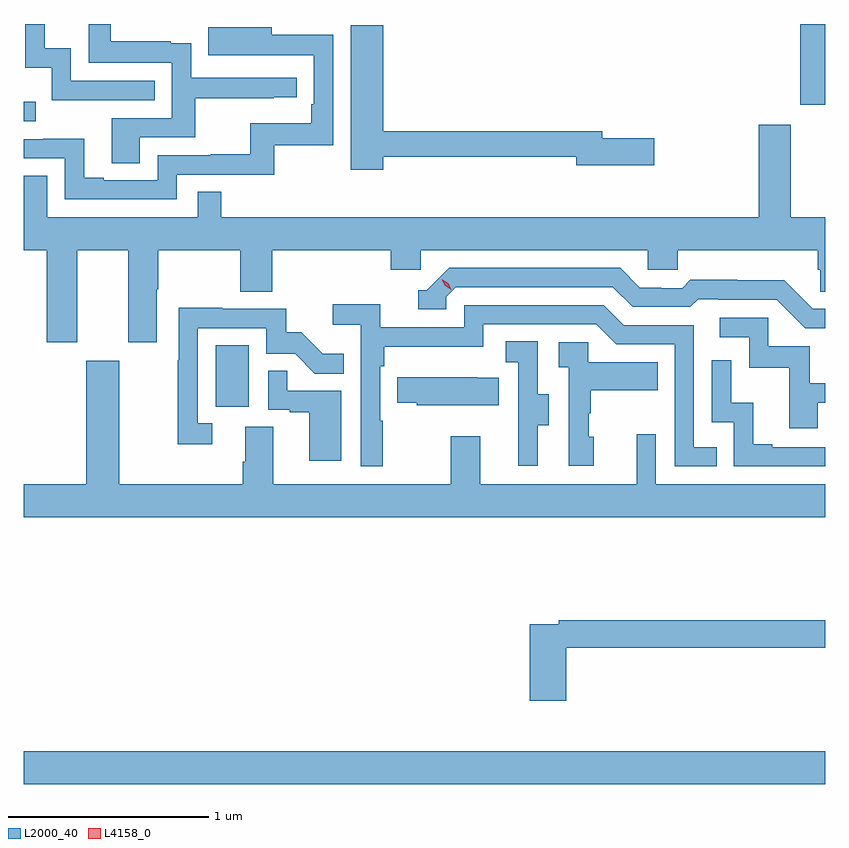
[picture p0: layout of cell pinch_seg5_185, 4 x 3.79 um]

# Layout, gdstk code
import gdstk
lib = gdstk.Library(unit=1e-6, precision=1e-09)
def R(c, l, rs):  # rectangles x0, y0, x1, y1
    for r in rs: c.add(gdstk.rectangle(r[:2], r[2:], *l))
def P(c, l, *ps):  # polygons
    for p in ps: c.add(gdstk.Polygon(p, *l))
L2000_40 = (2000, 40)
L4158_0 = (4158, 0)

pinch_seg5_185 = lib.new_cell('pinch_seg5_185')
R(pinch_seg5_185, L2000_40, [(1119.406,884.732,1123.406,884.896), (1120.364,886.614,1120.528,886.921), (1119.406,888.039,1119.466,888.136), (1123.28,888.122,1123.406,888.524)])
P(pinch_seg5_185, L2000_40, [(1119.985,887.958),(1120.262,887.958),(1120.262,888.154),(1120.655,888.154),(1120.655,888.159),(1120.768,888.159),(1120.768,888.255),(1120.242,888.255),(1120.242,888.427),(1120.139,888.427),(1120.139,888.439),(1119.841,888.439),(1119.841,888.524),(1119.73,888.524),(1119.73,888.33),(1120.146,888.33),(1120.146,888.054),(1119.845,888.054),(1119.845,887.83),(1119.985,887.83)],
  [(1120.061,888.24),(1119.642,888.24),(1119.642,888.403),(1119.51,888.403),(1119.51,888.524),(1119.413,888.524),(1119.413,888.305),(1119.546,888.305),(1119.546,888.144),(1120.061,888.144)],
  [(1121.2,887.862),(1122.164,887.862),(1122.164,887.819),(1122.553,887.819),(1122.553,887.954),(1122.292,887.954),(1122.292,887.99),(1121.2,887.99),(1121.2,888.517),(1121.039,888.517),(1121.039,887.796),(1121.2,887.796)],
  [(1120.17,887.772),(1120.657,887.772),(1120.657,887.919),(1120.95,887.919),(1120.95,888.47),(1120.645,888.47),(1120.645,888.508),(1120.327,888.508),(1120.327,888.368),(1120.541,888.368),(1120.541,888.369),(1120.854,888.369),(1120.854,888.124),(1120.841,888.124),(1120.841,888.028),(1120.536,888.028),(1120.536,887.873),(1120.339,887.873),(1120.339,887.868),(1120.074,887.868),(1120.074,887.745),(1119.805,887.745),(1119.805,887.758),(1119.709,887.758),(1119.709,887.951),(1119.504,887.951),(1119.504,887.949),(1119.406,887.949),(1119.406,887.853),(1119.612,887.853),(1119.612,887.649),(1120.17,887.649)],
  [(1119.523,887.768),(1119.406,887.768),(1119.406,887.396),(1119.521,887.396),(1119.521,886.935),(1119.673,886.935),(1119.673,887.396),(1119.929,887.396),(1119.929,886.935),(1120.069,886.935),(1120.069,887.2),(1120.077,887.2),(1120.077,887.396),(1120.486,887.396),(1120.486,887.188),(1120.646,887.188),(1120.646,887.396),(1121.237,887.396),(1121.237,887.298),(1121.388,887.298),(1121.388,887.396),(1122.519,887.396),(1122.519,887.298),(1122.669,887.298),(1122.669,887.396),(1123.367,887.396),(1123.367,887.298),(1123.381,887.298),(1123.381,887.188),(1123.406,887.188),(1123.406,887.56),(1123.233,887.56),(1123.233,888.022),(1123.073,888.022),(1123.073,887.56),(1120.391,887.56),(1120.391,887.687),(1120.275,887.687),(1120.275,887.56),(1119.523,887.56)],
  [(1123.406,887.103),(1123.344,887.103),(1123.202,887.245),(1122.966,887.245),(1122.966,887.248),(1122.733,887.248),(1122.691,887.205),(1122.588,887.205),(1122.588,887.208),(1122.481,887.208),(1122.382,887.307),(1121.529,887.307),(1121.418,887.196),(1121.375,887.196),(1121.375,887.1),(1121.514,887.1),(1121.514,887.163),(1121.562,887.211),(1122.345,887.211),(1122.444,887.112),(1122.733,887.112),(1122.772,887.151),(1122.871,887.151),(1122.871,887.148),(1123.164,887.148),(1123.305,887.007),(1123.406,887.007)],
  [(1121.197,886.544),(1121.184,886.544),(1121.184,886.817),(1121.204,886.817),(1121.204,886.913),(1121.7,886.913),(1121.7,887.025),(1122.264,887.025),(1122.363,886.926),(1122.654,886.926),(1122.654,886.317),(1122.863,886.317),(1122.863,886.413),(1122.75,886.413),(1122.75,887.022),(1122.4,887.022),(1122.301,887.121),(1121.604,887.121),(1121.604,887.01),(1121.186,887.01),(1121.186,887.126),(1120.947,887.126),(1120.947,887.024),(1121.088,887.024),(1121.088,886.317),(1121.197,886.317)],
  [(1120.348,886.533),(1120.275,886.533),(1120.275,887.007),(1120.617,887.007),(1120.617,886.878),(1120.761,886.878),(1120.859,886.78),(1121.003,886.78),(1121.003,886.879),(1120.899,886.879),(1120.792,886.986),(1120.716,886.986),(1120.716,887.103),(1120.397,887.103),(1120.397,887.108),(1120.179,887.108),(1120.179,886.847),(1120.174,886.847),(1120.174,886.428),(1120.348,886.428)],
  [(1123.369,886.635),(1123.406,886.635),(1123.406,886.731),(1123.327,886.731),(1123.327,886.917),(1123.122,886.917),(1123.122,887.058),(1122.879,887.058),(1122.879,886.962),(1123.026,886.962),(1123.026,886.809),(1123.225,886.809),(1123.225,886.506),(1123.369,886.506)],
  [(1121.971,886.522),(1122.025,886.522),(1122.025,886.677),(1121.97,886.677),(1121.97,886.94),(1121.811,886.94),(1121.811,886.837),(1121.874,886.837),(1121.874,886.533),(1121.873,886.533),(1121.873,886.32),(1121.971,886.32)],
  [(1122.25,886.464),(1122.225,886.464),(1122.225,886.583),(1122.235,886.583),(1122.235,886.697),(1122.569,886.697),(1122.569,886.837),(1122.222,886.837),(1122.222,886.935),(1122.075,886.935),(1122.075,886.811),(1122.126,886.811),(1122.126,886.32),(1122.25,886.32)],
  [(1123.406,886.413),(1123.141,886.413),(1123.141,886.426),(1123.046,886.426),(1123.046,886.634),(1122.936,886.634),(1122.936,886.846),(1122.84,886.846),(1122.84,886.536),(1122.948,886.536),(1122.948,886.317),(1123.406,886.317)],
  [(1123.406,886.228),(1122.561,886.228),(1122.561,886.477),(1122.464,886.477),(1122.464,886.228),(1121.683,886.228),(1121.683,886.468),(1121.536,886.468),(1121.536,886.228),(1120.651,886.228),(1120.651,886.514),(1120.511,886.514),(1120.511,886.34),(1120.499,886.34),(1120.499,886.228),(1119.883,886.228),(1119.883,886.843),(1119.719,886.843),(1119.719,886.228),(1119.406,886.228),(1119.406,886.064),(1123.406,886.064)],
  [(1120.99,886.695),(1120.721,886.695),(1120.721,886.793),(1120.626,886.793),(1120.626,886.599),(1120.733,886.599),(1120.733,886.587),(1120.832,886.587),(1120.832,886.344),(1120.99,886.344)],
  [(1121.777,886.759),(1121.669,886.759),(1121.669,886.762),(1121.269,886.762),(1121.269,886.633),(1121.367,886.633),(1121.367,886.622),(1121.777,886.622)],
  [(1122.113,885.412),(1123.406,885.412),(1123.406,885.548),(1122.076,885.548),(1122.076,885.528),(1121.93,885.528),(1121.93,885.147),(1122.113,885.147)])
P(pinch_seg5_185, L4158_0, [(1121.539,887.198),(1121.509,887.218),(1121.493,887.251),(1121.493,887.251),(1121.493,887.251),(1121.524,887.231),(1121.539,887.198),(1121.539,887.198)])

lib.write_gds('pinch_seg5_185.gds')
